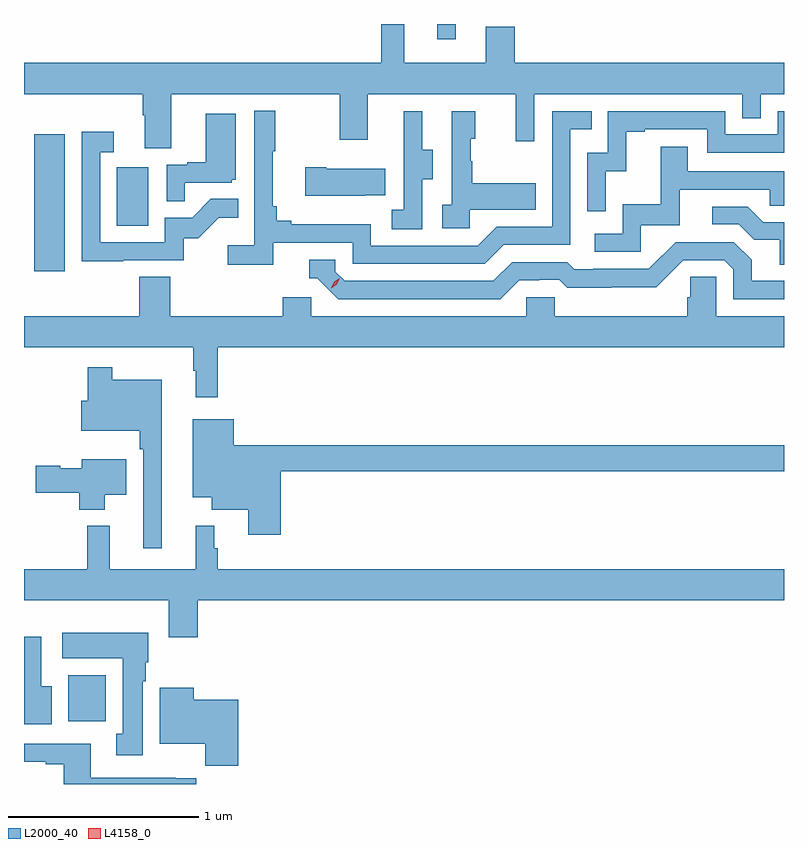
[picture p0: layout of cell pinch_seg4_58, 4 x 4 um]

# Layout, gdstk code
import gdstk
lib = gdstk.Library(unit=1e-6, precision=1e-09)
def R(c, l, rs):  # rectangles x0, y0, x1, y1
    for r in rs: c.add(gdstk.rectangle(r[:2], r[2:], *l))
def P(c, l, *ps):  # polygons
    for p in ps: c.add(gdstk.Polygon(p, *l))
L2000_40 = (2000, 40)
L4158_0 = (4158, 0)

pinch_seg4_58 = lib.new_cell('pinch_seg4_58')
R(pinch_seg4_58, L2000_40, [(1019.099,821.492,1019.296,821.734), (1018.919,823.86,1019.08,824.581), (1019.354,824.1,1019.518,824.407), (1021.04,825.081,1021.138,825.161)])
P(pinch_seg4_58, L2000_40, [(1019.641,824.792),(1020.526,824.792),(1020.526,824.553),(1020.673,824.553),(1020.673,824.792),(1021.454,824.792),(1021.454,824.544),(1021.551,824.544),(1021.551,824.792),(1022.646,824.792),(1022.646,824.665),(1022.742,824.665),(1022.742,824.792),(1022.865,824.792),(1022.865,824.956),(1021.448,824.956),(1021.448,825.146),(1021.295,825.146),(1021.295,824.956),(1020.865,824.956),(1020.865,825.161),(1020.744,825.161),(1020.744,824.956),(1018.865,824.956),(1018.865,824.792),(1019.489,824.792),(1019.489,824.68),(1019.501,824.68),(1019.501,824.506),(1019.641,824.506)],
  [(1020.176,824.01),(1020.594,824.01),(1020.594,823.899),(1021.291,823.899),(1021.39,823.998),(1021.74,823.998),(1021.74,824.607),(1021.853,824.607),(1021.853,824.703),(1021.644,824.703),(1021.644,824.094),(1021.353,824.094),(1021.254,823.995),(1020.69,823.995),(1020.69,824.107),(1020.271,824.107),(1020.271,824.126),(1020.194,824.126),(1020.194,824.203),(1020.175,824.203),(1020.175,824.491),(1020.187,824.491),(1020.187,824.704),(1020.078,824.704),(1020.078,823.996),(1019.937,823.996),(1019.937,823.894),(1020.176,823.894)],
  [(1021.926,824.387),(1022.036,824.387),(1022.036,824.595),(1022.131,824.595),(1022.131,824.607),(1022.46,824.607),(1022.46,824.484),(1022.865,824.484),(1022.865,824.703),(1022.832,824.703),(1022.832,824.58),(1022.556,824.58),(1022.556,824.703),(1021.938,824.703),(1021.938,824.484),(1021.83,824.484),(1021.83,824.175),(1021.926,824.175)],
  [(1020.96,824.344),(1021.015,824.344),(1021.015,824.499),(1020.961,824.499),(1020.961,824.701),(1020.863,824.701),(1020.863,824.487),(1020.864,824.487),(1020.864,824.183),(1020.801,824.183),(1020.801,824.08),(1020.96,824.08)],
  [(1021.212,824.183),(1021.559,824.183),(1021.559,824.323),(1021.225,824.323),(1021.225,824.438),(1021.215,824.438),(1021.215,824.556),(1021.24,824.556),(1021.24,824.701),(1021.116,824.701),(1021.116,824.21),(1021.065,824.21),(1021.065,824.085),(1021.212,824.085)],
  [(1019.711,824.325),(1019.958,824.325),(1019.958,824.34),(1019.98,824.34),(1019.98,824.689),(1019.822,824.689),(1019.822,824.434),(1019.723,824.434),(1019.723,824.421),(1019.616,824.421),(1019.616,824.227),(1019.711,824.227)],
  [(1019.387,823.917),(1019.706,823.917),(1019.706,824.034),(1019.782,824.034),(1019.889,824.141),(1019.993,824.141),(1019.993,824.24),(1019.849,824.24),(1019.751,824.142),(1019.607,824.142),(1019.607,824.013),(1019.265,824.013),(1019.265,824.487),(1019.338,824.487),(1019.338,824.593),(1019.169,824.593),(1019.169,823.912),(1019.387,823.912)],
  [(1022.112,824.103),(1022.317,824.103),(1022.317,824.289),(1022.791,824.289),(1022.791,824.205),(1022.865,824.205),(1022.865,824.385),(1022.359,824.385),(1022.359,824.515),(1022.215,824.515),(1022.215,824.212),(1022.016,824.212),(1022.016,824.058),(1021.869,824.058),(1021.869,823.962),(1022.112,823.962)],
  [(1020.659,824.261),(1020.767,824.261),(1020.767,824.398),(1020.457,824.398),(1020.457,824.406),(1020.345,824.406),(1020.345,824.258),(1020.659,824.258)],
  [(1022.865,824.118),(1022.755,824.118),(1022.674,824.199),(1022.487,824.199),(1022.487,824.106),(1022.628,824.106),(1022.708,824.026),(1022.843,824.026),(1022.843,823.894),(1022.865,823.894)],
  [(1021.471,823.812),(1021.578,823.812),(1021.578,823.815),(1021.681,823.815),(1021.723,823.773),(1021.956,823.773),(1021.956,823.775),(1022.192,823.775),(1022.334,823.917),(1022.55,823.917),(1022.598,823.869),(1022.598,823.713),(1022.865,823.713),(1022.865,823.809),(1022.695,823.809),(1022.695,823.919),(1022.601,824.013),(1022.295,824.013),(1022.154,823.872),(1021.861,823.872),(1021.861,823.869),(1021.762,823.869),(1021.723,823.908),(1021.434,823.908),(1021.335,823.809),(1020.552,823.809),(1020.504,823.857),(1020.504,823.92),(1020.365,823.92),(1020.365,823.824),(1020.408,823.824),(1020.519,823.713),(1021.372,823.713)],
  [(1019.885,823.46),(1022.865,823.46),(1022.865,823.624),(1022.508,823.624),(1022.508,823.832),(1022.371,823.832),(1022.371,823.722),(1022.357,823.722),(1022.357,823.624),(1021.659,823.624),(1021.659,823.722),(1021.509,823.722),(1021.509,823.624),(1020.378,823.624),(1020.378,823.722),(1020.227,823.722),(1020.227,823.624),(1019.636,823.624),(1019.636,823.832),(1019.471,823.832),(1019.471,823.624),(1018.865,823.624),(1018.865,823.46),(1019.757,823.46),(1019.757,823.337),(1019.768,823.337),(1019.768,823.197),(1019.885,823.197)],
  [(1019.59,823.288),(1019.329,823.288),(1019.329,823.354),(1019.2,823.354),(1019.2,823.177),(1019.166,823.177),(1019.166,823.019),(1019.473,823.019),(1019.473,822.923),(1019.493,822.923),(1019.493,822.402),(1019.59,822.402)],
  [(1020.215,822.808),(1022.865,822.808),(1022.865,822.944),(1019.968,822.944),(1019.968,823.081),(1019.753,823.081),(1019.753,822.671),(1019.852,822.671),(1019.852,822.605),(1020.044,822.605),(1020.044,822.474),(1020.215,822.474)],
  [(1019.29,822.683),(1019.404,822.683),(1019.404,822.871),(1019.168,822.871),(1019.168,822.823),(1019.055,822.823),(1019.055,822.836),(1018.926,822.836),(1018.926,822.694),(1019.156,822.694),(1019.156,822.605),(1019.29,822.605)],
  [(1019.78,822.128),(1022.865,822.128),(1022.865,822.292),(1019.885,822.292),(1019.885,822.401),(1019.866,822.401),(1019.866,822.52),(1019.768,822.52),(1019.768,822.292),(1019.315,822.292),(1019.315,822.52),(1019.197,822.52),(1019.197,822.292),(1018.865,822.292),(1018.865,822.128),(1019.627,822.128),(1019.627,821.934),(1019.78,821.934)],
  [(1019.491,821.702),(1019.506,821.702),(1019.506,821.802),(1019.518,821.802),(1019.518,821.956),(1019.067,821.956),(1019.067,821.822),(1019.384,821.822),(1019.384,821.426),(1019.351,821.426),(1019.351,821.313),(1019.491,821.313)],
  [(1019.011,821.676),(1018.957,821.676),(1018.957,821.935),(1018.865,821.935),(1018.865,821.475),(1019.011,821.475)],
  [(1019.993,821.605),(1019.758,821.605),(1019.758,821.668),(1019.579,821.668),(1019.579,821.372),(1019.819,821.372),(1019.819,821.257),(1019.993,821.257)],
  [(1019.772,821.191),(1019.663,821.191),(1019.663,821.193),(1019.215,821.193),(1019.215,821.373),(1018.865,821.373),(1018.865,821.277),(1018.979,821.277),(1018.979,821.265),(1019.075,821.265),(1019.075,821.161),(1019.772,821.161)])
P(pinch_seg4_58, L4158_0, [(1020.481,823.771),(1020.481,823.771),(1020.497,823.804),(1020.527,823.824),(1020.527,823.824),(1020.527,823.823),(1020.512,823.791),(1020.481,823.771)])

lib.write_gds('pinch_seg4_58.gds')
